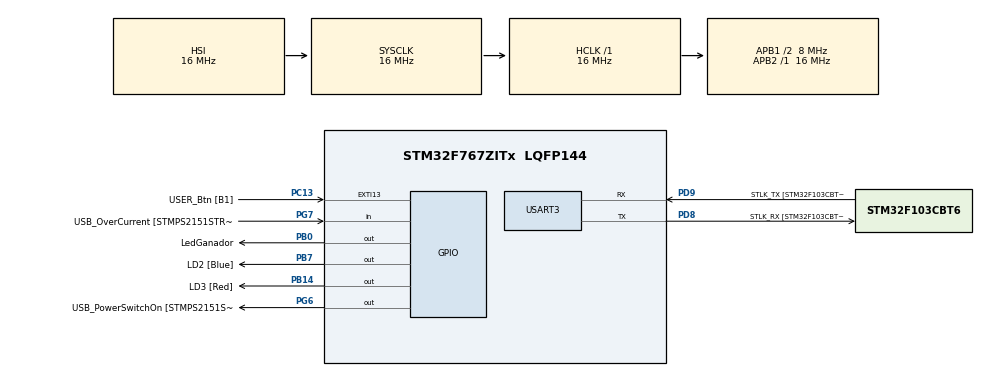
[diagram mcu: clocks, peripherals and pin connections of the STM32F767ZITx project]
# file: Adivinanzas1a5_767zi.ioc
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Mcu.Family=STM32F7
Mcu.Name=STM32F767ZITx
Mcu.Package=LQFP144
NVIC.PriorityGroup=NVIC_PRIORITYGROUP_4
PA1.GPIO_Label=RMII_REF_CLK [LAN8742A-CZ-TR_REFCLK0]
PA1.Signal=ETH_REF_CLK
PA10.GPIO_Label=USB_ID
PA10.Signal=USB_OTG_FS_ID
PA11.GPIO_Label=USB_DM
PA11.Signal=USB_OTG_FS_DM
PA12.GPIO_Label=USB_DP
PA12.Signal=USB_OTG_FS_DP
PA13.GPIO_Label=TMS
PA13.Signal=SYS_JTMS-SWDIO
PA14.GPIO_Label=TCK
PA14.Signal=SYS_JTCK-SWCLK
PA2.GPIO_Label=RMII_MDIO [LAN8742A-CZ-TR_MDIO]
PA2.Signal=ETH_MDIO
PA7.GPIO_Label=RMII_CRS_DV [LAN8742A-CZ-TR_CRS_DV]
PA7.Signal=ETH_CRS_DV
PA8.GPIO_Label=USB_SOF [TP1]
PA8.Signal=USB_OTG_FS_SOF
PA9.GPIO_Label=USB_VBUS
PA9.Signal=USB_OTG_FS_VBUS
PB0.GPIO_Label=LedGanador
PB0.Signal=GPIO_Output
PB13.GPIO_Label=RMII_TXD1 [LAN8742A-CZ-TR_TXD1]
PB13.Signal=ETH_TXD1
PB14.GPIO_Label=LD3 [Red]
PB14.Signal=GPIO_Output
PB3.GPIO_Label=SW0
PB3.Signal=SYS_JTDO-SWO
PB7.GPIO_Label=LD2 [Blue]
PB7.Signal=GPIO_Output
PC1.GPIO_Label=RMII_MDC [LAN8742A-CZ-TR_MDC]
PC1.Signal=ETH_MDC
PC13.GPIO_Label=USER_Btn [B1]
PC13.Signal=GPXTI13
PC14/OSC32_IN.Signal=RCC_OSC32_IN
PC15/OSC32_OUT.Signal=RCC_OSC32_OUT
PC4.GPIO_Label=RMII_RXD0 [LAN8742A-CZ-TR_RXD0]
PC4.Signal=ETH_RXD0
PC5.GPIO_Label=RMII_RXD1 [LAN8742A-CZ-TR_RXD1]
PC5.Signal=ETH_RXD1
PD8.GPIO_Label=STLK_RX [STM32F103CBT6_PA3]
PD8.Mode=Asynchronous
PD8.Signal=USART3_TX
PD9.GPIO_Label=STLK_TX [STM32F103CBT6_PA2]
PD9.Mode=Asynchronous
PD9.Signal=USART3_RX
PG11.GPIO_Label=RMII_TX_EN [LAN8742A-CZ-TR_TXEN]
PG11.Signal=ETH_TX_EN
PG13.GPIO_Label=RMII_TXD0 [LAN8742A-CZ-TR_TXD0]
PG13.Signal=ETH_TXD0
PG6.GPIO_Label=USB_PowerSwitchOn [STMPS2151STR_EN]
PG6.Signal=GPIO_Output
PG7.GPIO_Label=USB_OverCurrent [STMPS2151STR_FAULT]
PG7.Signal=GPIO_Input
PH0/OSC_IN.GPIO_Label=MCO [STM32F103CBT6_PA8]
PH0/OSC_IN.Signal=RCC_OSC_IN
PH1/OSC_OUT.Signal=RCC_OSC_OUT
ProjectManager.HeapSize=0x200
ProjectManager.StackSize=0x400
ProjectManager.TargetToolchain=STM32CubeIDE
RCC.48MHZClocksFreq_Value=24000000
RCC.AHBFreq_Value=16000000
RCC.APB1CLKDivider=RCC_HCLK_DIV2
RCC.APB1Freq_Value=8000000
RCC.APB1TimFreq_Value=16000000
RCC.APB2Freq_Value=16000000
RCC.APB2TimFreq_Value=16000000
RCC.CortexFreq_Value=16000000
RCC.HCLKFreq_Value=16000000
RCC.HSE_VALUE=16000000
RCC.HSI_VALUE=16000000
RCC.LSE_VALUE=32768
RCC.PLLMUL=RCC_PLL_MUL9
RCC.PRESCALERUSB=RCC_USBCLKSOURCE_PLL_DIV1_5
RCC.SYSCLKFreq_VALUE=16000000
RCC.SYSCLKSourceVirtual=RCC_SYSCLKSOURCE_PLLCLK
RCC.USBFreq_Value=96000000
RCC.VCOOutputFreq_Value=192000000
USART3.VirtualMode-Asynchronous=VM_ASYNC
board=NUCLEO-F767ZI

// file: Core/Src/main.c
/* USER CODE BEGIN Header */
/**
 ******************************************************************************
 * @file           : main.c
 * @brief          : Main program body
 ******************************************************************************
 * @attention
 *
 * Copyright (c) 2022 STMicroelectronics.
 * All rights reserved.
 *
 * This software is licensed under terms that can be found in the LICENSE file
 * in the root directory of this software component.
 * If no LICENSE file comes with this software, it is provided AS-IS.
 *
 ******************************************************************************
 * Juego de las adivinanzas
 * Javier Soto - 2022/09/12
 *
 * Ejemplo de como usar la funcion printf/scanf usando UART, asi como de lectura del
 * SysTick timer para generación de numero base para el juego de las adivinanzas.
 * para una tarjeta NUCLE0-F103RB.
 *
 * El codigo relacionado al printf/scanf esta basado en el blog publicado por Shawn Hymel.
 * https://shawnhymel.com/1873/how-to-use-printf-on-stm32/
 * Creditos para Carmine Noviello por las funciones/archivos en los que se basa ese código
 *
 * Referencias adicionales:
 * - https://www.asciiart.eu/
 * - https://codegolf.stackexchange.com/questions/16587/print-a-smiley-face
 ******************************************************************************
 */
/* USER CODE END Header */
#include "main.h"

/* USER CODE BEGIN Includes */
#include <stdio.h>
#include <stdlib.h>
#include "retarget.h"
#include "funciones.h"
/* USER CODE END Includes */

UART_HandleTypeDef huart3;

void SystemClock_Config(void);
static void MX_GPIO_Init(void);
static void MX_USART3_UART_Init(void);

int main(void)
{
  /* USER CODE BEGIN 1 */
  char nombre[20];
  char buf[10];
  /* USER CODE END 1 */

  /* MCU Configuration--------------------------------------------------------*/

  /* Reset of all peripherals, Initializes the Flash interface and the Systick. */
  HAL_Init();

  /* Configure the system clock */
  SystemClock_Config();

  /* Initialize all configured peripherals */
  MX_GPIO_Init();
  MX_USART3_UART_Init();
  /* USER CODE BEGIN 2 */
  RetargetInit(&huart3);

  printf("\x1b[2J"); //Clear the screen
  printf("\n\r***************************************************************");
  printf("\n\r* Universidad Escuela Colombiana de Ingenieria Julio Garavito *");
  printf("\n\r* DMIC - Jose De La Hoz - 2022                                *");
  printf("\n\r* Juego 'JUGUEMOS A LAS ADIVINANZAS'                          *");
  printf("\n\r* Desarrollado para una tarjeta NUCLE0-F767ZI                 *");
  printf("\n\r***************************************************************");
  printf("\r\n");
  printf("\n\rPara una mejor experiencia, habilite la opcion de eco local en su terminal");
  printf("\r\n");
  printf("\r\nIngrese su nombre: ");
  scanf("%s", nombre);

  /* USER CODE END 2 */

  /* Infinite loop */
  while (1)
  {

    /* USER CODE BEGIN 3 */
      printf("\n\r");
      printf("\n\r***************************************************************");
      printf("\r\n* %s, Juguemos a las ADIVINANZAS !!", nombre);
      printf("\n\r***************************************************************");
      printf("\r\n");
      printf("\r\nIngrese un numero entre 1 y 5, presione enter: ");
      scanf("%s", buf);
      int numUsuario = atoi(buf);

      if (numUsuario < 1 || numUsuario > 5) {
          ImprimirError();
          HAL_GPIO_WritePin(LedGanador_GPIO_Port, LedGanador_Pin, GPIO_PIN_RESET); //Poner a 0 Led Ganador
      } else {
          //uint32_t numSistema = (g_lfsrValue % 5) + 1;
          uint32_t ticks = HAL_GetTick();
          uint32_t numSistema = (ticks % 5) + 1;

          printf("\r\n");
          printf("\r\nNumero de ticks: %u", (unsigned int)ticks);
          printf("\r\nNumero de usuario: %d", numUsuario);
          printf("\r\nNumero de sistema: %u", (unsigned int)numSistema);
          printf("\r\n");
          //
          if (numUsuario == numSistema) {
              ImprimirMensajeGanador(nombre);
              int sm = 1;
              printf("%c ",sm);
              HAL_GPIO_WritePin(LedGanador_GPIO_Port, LedGanador_Pin, GPIO_PIN_SET); //Poner a 1 Led Ganador
          } else {
              ImprimirMensajeNoGanador();
              HAL_GPIO_WritePin(LedGanador_GPIO_Port, LedGanador_Pin, GPIO_PIN_RESET); //Poner a 0 Led Ganador
          }

      }
  }// end while
  /* USER CODE END 3 */
}

void SystemClock_Config(void)
{
  RCC_OscInitTypeDef RCC_OscInitStruct = {0};
  RCC_ClkInitTypeDef RCC_ClkInitStruct = {0};

  /** Configure the main internal regulator output voltage
  */
  __HAL_RCC_PWR_CLK_ENABLE();
  __HAL_PWR_VOLTAGESCALING_CONFIG(PWR_REGULATOR_VOLTAGE_SCALE3);

  /** Initializes the RCC Oscillators according to the specified parameters
  * in the RCC_OscInitTypeDef structure.
  */
  RCC_OscInitStruct.OscillatorType = RCC_OSCILLATORTYPE_HSI;
  RCC_OscInitStruct.HSIState = RCC_HSI_ON;
  RCC_OscInitStruct.HSICalibrationValue = RCC_HSICALIBRATION_DEFAULT;
  RCC_OscInitStruct.PLL.PLLState = RCC_PLL_NONE;
  if (HAL_RCC_OscConfig(&RCC_OscInitStruct) != HAL_OK)
  {
    Error_Handler();
  }

  /** Initializes the CPU, AHB and APB buses clocks
  */
  RCC_ClkInitStruct.ClockType = RCC_CLOCKTYPE_HCLK|RCC_CLOCKTYPE_SYSCLK
                              |RCC_CLOCKTYPE_PCLK1|RCC_CLOCKTYPE_PCLK2;
  RCC_ClkInitStruct.SYSCLKSource = RCC_SYSCLKSOURCE_HSI;
  RCC_ClkInitStruct.AHBCLKDivider = RCC_SYSCLK_DIV1;
  RCC_ClkInitStruct.APB1CLKDivider = RCC_HCLK_DIV2;
  RCC_ClkInitStruct.APB2CLKDivider = RCC_HCLK_DIV1;

  if (HAL_RCC_ClockConfig(&RCC_ClkInitStruct, FLASH_LATENCY_0) != HAL_OK)
  {
    Error_Handler();
  }
}

static void MX_USART3_UART_Init(void)
{

  huart3.Instance = USART3;
  huart3.Init.BaudRate = 115200;
  huart3.Init.WordLength = UART_WORDLENGTH_8B;
  huart3.Init.StopBits = UART_STOPBITS_1;
  huart3.Init.Parity = UART_PARITY_NONE;
  huart3.Init.Mode = UART_MODE_TX_RX;
  huart3.Init.HwFlowCtl = UART_HWCONTROL_NONE;
  huart3.Init.OverSampling = UART_OVERSAMPLING_16;
  huart3.Init.OneBitSampling = UART_ONE_BIT_SAMPLE_DISABLE;
  huart3.AdvancedInit.AdvFeatureInit = UART_ADVFEATURE_NO_INIT;
  if (HAL_UART_Init(&huart3) != HAL_OK)
  {
    Error_Handler();
  }

}

static void MX_GPIO_Init(void)
{
  GPIO_InitTypeDef GPIO_InitStruct = {0};

  /* GPIO Ports Clock Enable */
  __HAL_RCC_GPIOC_CLK_ENABLE();
  __HAL_RCC_GPIOH_CLK_ENABLE();
  __HAL_RCC_GPIOA_CLK_ENABLE();
  __HAL_RCC_GPIOB_CLK_ENABLE();
  __HAL_RCC_GPIOD_CLK_ENABLE();
  __HAL_RCC_GPIOG_CLK_ENABLE();

  /*Configure GPIO pin Output Level */
  HAL_GPIO_WritePin(GPIOB, LedGanador_Pin|LD3_Pin|LD2_Pin, GPIO_PIN_RESET);

  /*Configure GPIO pin Output Level */
  HAL_GPIO_WritePin(USB_PowerSwitchOn_GPIO_Port, USB_PowerSwitchOn_Pin, GPIO_PIN_RESET);

  /*Configure GPIO pin : USER_Btn_Pin */
  GPIO_InitStruct.Pin = USER_Btn_Pin;
  GPIO_InitStruct.Mode = GPIO_MODE_IT_RISING;
  GPIO_InitStruct.Pull = GPIO_NOPULL;
  HAL_GPIO_Init(USER_Btn_GPIO_Port, &GPIO_InitStruct);

  /*Configure GPIO pins : RMII_MDC_Pin RMII_RXD0_Pin RMII_RXD1_Pin */
  GPIO_InitStruct.Pin = RMII_MDC_Pin|RMII_RXD0_Pin|RMII_RXD1_Pin;
  GPIO_InitStruct.Mode = GPIO_MODE_AF_PP;
  GPIO_InitStruct.Pull = GPIO_NOPULL;
  GPIO_InitStruct.Speed = GPIO_SPEED_FREQ_VERY_HIGH;
  GPIO_InitStruct.Alternate = GPIO_AF11_ETH;
  HAL_GPIO_Init(GPIOC, &GPIO_InitStruct);

  /*Configure GPIO pins : RMII_REF_CLK_Pin RMII_MDIO_Pin RMII_CRS_DV_Pin */
  GPIO_InitStruct.Pin = RMII_REF_CLK_Pin|RMII_MDIO_Pin|RMII_CRS_DV_Pin;
  GPIO_InitStruct.Mode = GPIO_MODE_AF_PP;
  GPIO_InitStruct.Pull = GPIO_NOPULL;
  GPIO_InitStruct.Speed = GPIO_SPEED_FREQ_VERY_HIGH;
  GPIO_InitStruct.Alternate = GPIO_AF11_ETH;
  HAL_GPIO_Init(GPIOA, &GPIO_InitStruct);

  /*Configure GPIO pins : LedGanador_Pin LD3_Pin LD2_Pin */
  GPIO_InitStruct.Pin = LedGanador_Pin|LD3_Pin|LD2_Pin;
  GPIO_InitStruct.Mode = GPIO_MODE_OUTPUT_PP;
  GPIO_InitStruct.Pull = GPIO_NOPULL;
  GPIO_InitStruct.Speed = GPIO_SPEED_FREQ_LOW;
  HAL_GPIO_Init(GPIOB, &GPIO_InitStruct);

  /*Configure GPIO pin : RMII_TXD1_Pin */
  GPIO_InitStruct.Pin = RMII_TXD1_Pin;
  GPIO_InitStruct.Mode = GPIO_MODE_AF_PP;
  GPIO_InitStruct.Pull = GPIO_NOPULL;
  GPIO_InitStruct.Speed = GPIO_SPEED_FREQ_VERY_HIGH;
  GPIO_InitStruct.Alternate = GPIO_AF11_ETH;
  HAL_GPIO_Init(RMII_TXD1_GPIO_Port, &GPIO_InitStruct);

  /*Configure GPIO pin : USB_PowerSwitchOn_Pin */
  GPIO_InitStruct.Pin = USB_PowerSwitchOn_Pin;
  GPIO_InitStruct.Mode = GPIO_MODE_OUTPUT_PP;
  GPIO_InitStruct.Pull = GPIO_NOPULL;
  GPIO_InitStruct.Speed = GPIO_SPEED_FREQ_LOW;
  HAL_GPIO_Init(USB_PowerSwitchOn_GPIO_Port, &GPIO_InitStruct);

  /*Configure GPIO pin : USB_OverCurrent_Pin */
  GPIO_InitStruct.Pin = USB_OverCurrent_Pin;
  GPIO_InitStruct.Mode = GPIO_MODE_INPUT;
  GPIO_InitStruct.Pull = GPIO_NOPULL;
  HAL_GPIO_Init(USB_OverCurrent_GPIO_Port, &GPIO_InitStruct);

  /*Configure GPIO pins : USB_SOF_Pin USB_ID_Pin USB_DM_Pin USB_DP_Pin */
  GPIO_InitStruct.Pin = USB_SOF_Pin|USB_ID_Pin|USB_DM_Pin|USB_DP_Pin;
  GPIO_InitStruct.Mode = GPIO_MODE_AF_PP;
  GPIO_InitStruct.Pull = GPIO_NOPULL;
  GPIO_InitStruct.Speed = GPIO_SPEED_FREQ_VERY_HIGH;
  GPIO_InitStruct.Alternate = GPIO_AF10_OTG_FS;
  HAL_GPIO_Init(GPIOA, &GPIO_InitStruct);

  /*Configure GPIO pin : USB_VBUS_Pin */
  GPIO_InitStruct.Pin = USB_VBUS_Pin;
  GPIO_InitStruct.Mode = GPIO_MODE_INPUT;
  GPIO_InitStruct.Pull = GPIO_NOPULL;
  HAL_GPIO_Init(USB_VBUS_GPIO_Port, &GPIO_InitStruct);

  /*Configure GPIO pins : RMII_TX_EN_Pin RMII_TXD0_Pin */
  GPIO_InitStruct.Pin = RMII_TX_EN_Pin|RMII_TXD0_Pin;
  GPIO_InitStruct.Mode = GPIO_MODE_AF_PP;
  GPIO_InitStruct.Pull = GPIO_NOPULL;
  GPIO_InitStruct.Speed = GPIO_SPEED_FREQ_VERY_HIGH;
  GPIO_InitStruct.Alternate = GPIO_AF11_ETH;
  HAL_GPIO_Init(GPIOG, &GPIO_InitStruct);

}

void Error_Handler(void)
{
  __disable_irq();
  while (1)
  {
  }
}
